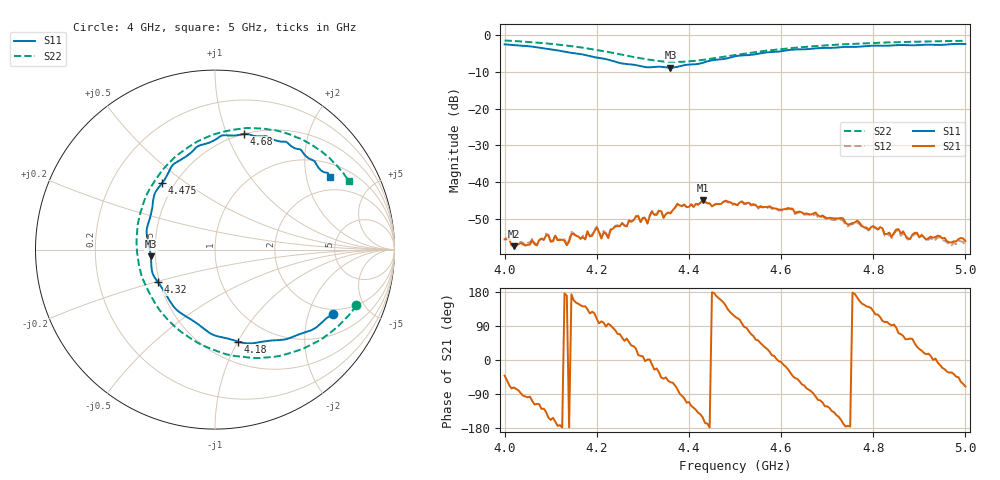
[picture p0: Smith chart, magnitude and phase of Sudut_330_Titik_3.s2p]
# Hz S RI R 50
! CMT, C1220, 16058040, 17.2.0/1
! Date: 15/08/2018 12:42:20
! Data: Format (Calibration Info)
! Freq  S11: Re/Im (F2)  S21: Re/Im (F2)  S12: Re/Im (F2)  S22: Re/Im (F2)
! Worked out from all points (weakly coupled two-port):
!   201 points, 4 GHz to 5 GHz, reference 50 ohm
!   highest |S21| = -45.01 dB at 4.43 GHz (marker M1); lowest = -57.5 dB at 4.02 GHz (marker M2)
!   lowest |S11| = -8.9 dB at 4.36 GHz (marker M3), VSWR 2.12, Z = 23.6 - j2.02 ohm
!   |S11| at or under -10 dB: nowhere
!   |S22| runs from -7.3 to -1.4 dB; largest |S21 - S12| = 0.00024
!   S11 on the Smith chart (normalised r, x): 4 GHz: 1.80, -2.92; 4.18 GHz: 0.70, -1.00; 4.32 GHz: 0.49, -0.20; 4.475 GHz: 0.43, +0.41; 4.68 GHz: 0.50, +1.15; 5 GHz: 1.45, +2.75
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4e9  0.6584 -0.3574  0.00124 -0.00109  0.00136 -0.00106  0.7874 -0.3109
4.02e9  0.6213 -0.3822  0.000398 -0.00127  0.000461 -0.00127  0.7536 -0.3565
4.07e9  0.5051 -0.4595  -0.000597 -0.00124  -0.000526 -0.00125  0.6433 -0.4618
4.09e9  0.442 -0.4828  -0.00137 -0.00127  -0.00141 -0.00138  0.5886 -0.5016
4.135e9  0.2919 -0.5091  -0.00135 0.000247  -0.00137 0.000165  0.4408 -0.5686
4.145e9  0.2521 -0.5147  -0.00194 0.000226  -0.00208 0.00015  0.4033 -0.5808
4.17e9  0.1605 -0.5204  -0.00138 0.0011  -0.0015 0.00108  0.3071 -0.5994
4.18e9  0.1276 -0.5122  -0.00145 0.00153  -0.00148 0.00152  0.2651 -0.6022
4.2e9  0.0542 -0.4918  -0.00077 0.00224  -0.000861 0.00231  0.1799 -0.6005
4.225e9  -0.0334 -0.4623  -0.000173 0.00171  -0.000155 0.00178  0.07 -0.5851
4.285e9  -0.2341 -0.3127  0.00292 0.00167  0.00295 0.0017  -0.1845 -0.4613
4.31e9  -0.292 -0.2181  0.0027 5.75e-05  0.00273 -1.36e-05  -0.274 -0.3781
4.32e9  -0.3187 -0.1811  0.00387 -0.00081  0.00392 -0.000899  -0.3067 -0.3395
4.335e9  -0.3482 -0.1314  0.00341 -0.00218  0.00342 -0.00221  -0.3474 -0.275
4.36e9  -0.3579 -0.0373  0.00194 -0.00317  0.00198 -0.00326  -0.4043 -0.1603
4.43e9  -0.3494 0.2329  -0.00494 -0.00268  -0.00499 -0.00257  -0.4205 0.1852
4.475e9  -0.2966 0.3695  -0.00473 0.00253  -0.00464 0.0026  -0.3415 0.3726
4.5e9  -0.2498 0.4487  -0.00208 0.00455  -0.00199 0.00453  -0.2819 0.4555
4.67e9  0.1427 0.6404  0.000108 -0.0037  -5.81e-06 -0.0035  0.2021 0.6768
4.68e9  0.1611 0.6446  -0.000918 -0.00338  -0.000893 -0.0032  0.2286 0.6757
4.835e9  0.4466 0.5639  -0.000174 0.00203  -0.00014 0.00192  0.5479 0.578
5e9  0.6389 0.4049  0.000536 -0.00147  0.0005 -0.00127  0.7448 0.3846
